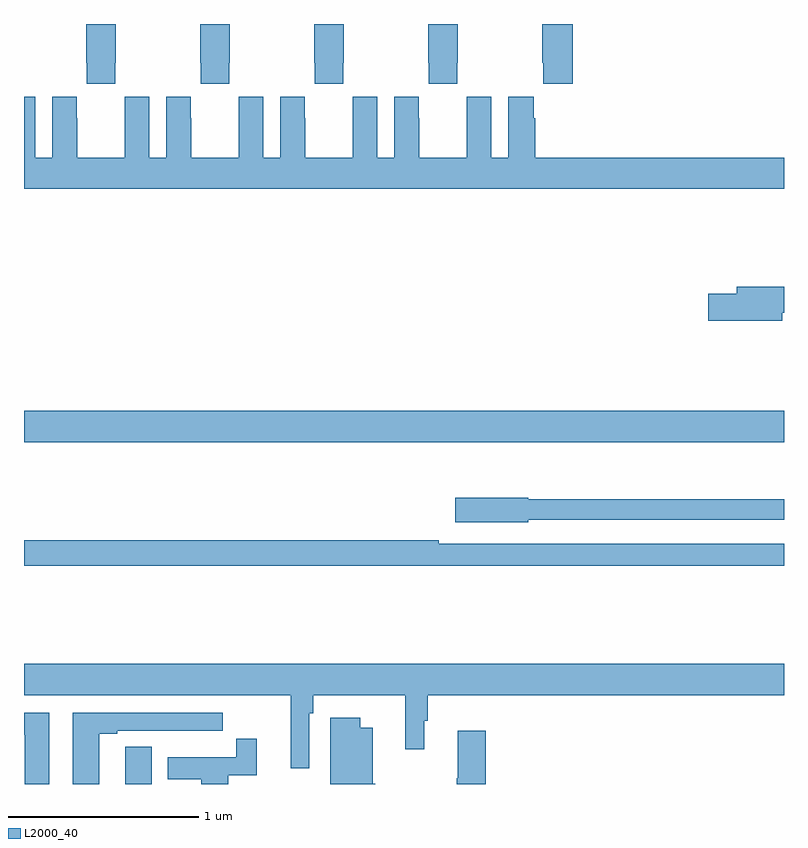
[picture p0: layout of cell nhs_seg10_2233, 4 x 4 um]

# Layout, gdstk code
import gdstk
lib = gdstk.Library(unit=1e-6, precision=1e-09)
def R(c, l, rs):  # rectangles x0, y0, x1, y1
    for r in rs: c.add(gdstk.rectangle(r[:2], r[2:], *l))
def P(c, l, *ps):  # polygons
    for p in ps: c.add(gdstk.Polygon(p, *l))
L2000_40 = (2000, 40)

nhs_seg10_2233 = lib.new_cell('nhs_seg10_2233')
R(nhs_seg10_2233, L2000_40, [(229,1316.3,233,1316.464)])
P(nhs_seg10_2233, L2000_40, [(229.927,1318.297),(229.929,1318.297),(229.929,1318.185),(230.079,1318.185),(230.079,1318.297),(230.082,1318.297),(230.082,1318.5),(229.927,1318.5)],
  [(229.479,1318.297),(229.482,1318.297),(229.482,1318.5),(229.327,1318.5),(229.327,1318.297),(229.329,1318.297),(229.329,1318.185),(229.479,1318.185)],
  [(230.679,1318.297),(230.682,1318.297),(230.682,1318.5),(230.527,1318.5),(230.527,1318.297),(230.529,1318.297),(230.529,1318.185),(230.679,1318.185)],
  [(231.279,1318.297),(231.282,1318.297),(231.282,1318.5),(231.127,1318.5),(231.127,1318.297),(231.129,1318.297),(231.129,1318.185),(231.279,1318.185)],
  [(231.887,1318.5),(231.727,1318.5),(231.727,1318.297),(231.733,1318.297),(231.733,1318.185),(231.887,1318.185)],
  [(233,1317.796),(231.692,1317.796),(231.692,1318.004),(231.682,1318.004),(231.682,1318.117),(231.548,1318.117),(231.548,1317.796),(231.46,1317.796),(231.46,1318.117),(231.33,1318.117),(231.33,1318.004),(231.329,1318.004),(231.329,1317.796),(231.079,1317.796),(231.079,1318.004),(231.078,1318.004),(231.078,1318.117),(230.948,1318.117),(230.948,1317.796),(230.86,1317.796),(230.86,1318.117),(230.73,1318.117),(230.73,1318.004),(230.729,1318.004),(230.729,1317.796),(230.479,1317.796),(230.479,1318.004),(230.478,1318.004),(230.478,1318.117),(230.348,1318.117),(230.348,1317.796),(230.26,1317.796),(230.26,1318.117),(230.13,1318.117),(230.13,1318.004),(230.129,1318.004),(230.129,1317.796),(229.879,1317.796),(229.879,1318.004),(229.878,1318.004),(229.878,1318.117),(229.748,1318.117),(229.748,1317.796),(229.66,1317.796),(229.66,1318.117),(229.53,1318.117),(229.53,1318.004),(229.529,1318.004),(229.529,1317.796),(229.279,1317.796),(229.279,1318.004),(229.278,1318.004),(229.278,1318.117),(229.148,1318.117),(229.148,1317.796),(229.06,1317.796),(229.06,1318.117),(229,1318.117),(229,1317.632),(233,1317.632)],
  [(232.99,1316.98),(233,1316.98),(233,1317.116),(232.751,1317.116),(232.751,1317.08),(232.602,1317.08),(232.602,1316.938),(232.99,1316.938)],
  [(231.654,1315.89),(233,1315.89),(233,1315.999),(231.654,1315.999),(231.654,1316.007),(231.27,1316.007),(231.27,1315.877),(231.654,1315.877)],
  [(233,1315.764),(231.182,1315.764),(231.182,1315.784),(229,1315.784),(229,1315.648),(233,1315.648)],
  [(230.502,1314.872),(230.522,1314.872),(230.522,1314.968),(231.007,1314.968),(231.007,1314.684),(231.106,1314.684),(231.106,1314.834),(231.125,1314.834),(231.125,1314.968),(233,1314.968),(233,1315.132),(229,1315.132),(229,1314.968),(230.405,1314.968),(230.405,1314.582),(230.502,1314.582)],
  [(229.396,1314.765),(229.492,1314.765),(229.492,1314.78),(229.768,1314.78),(229.768,1314.779),(229.934,1314.779),(229.934,1314.78),(230.047,1314.78),(230.047,1314.876),(229.256,1314.876),(229.256,1314.5),(229.396,1314.5)],
  [(229.132,1314.876),(229,1314.876),(229,1314.76),(229.004,1314.76),(229.004,1314.5),(229.132,1314.5)],
  [(230.848,1314.501),(230.836,1314.501),(230.836,1314.796),(230.77,1314.796),(230.77,1314.85),(230.612,1314.85),(230.612,1314.5),(230.848,1314.5)],
  [(231.431,1314.781),(231.284,1314.781),(231.284,1314.529),(231.277,1314.529),(231.277,1314.5),(231.431,1314.5)],
  [(230.074,1314.546),(230.225,1314.546),(230.225,1314.739),(230.116,1314.739),(230.116,1314.642),(229.757,1314.642),(229.757,1314.526),(229.934,1314.526),(229.934,1314.5),(230.074,1314.5)],
  [(229.672,1314.695),(229.533,1314.695),(229.533,1314.587),(229.532,1314.587),(229.532,1314.5),(229.672,1314.5)])

lib.write_gds('nhs_seg10_2233.gds')
